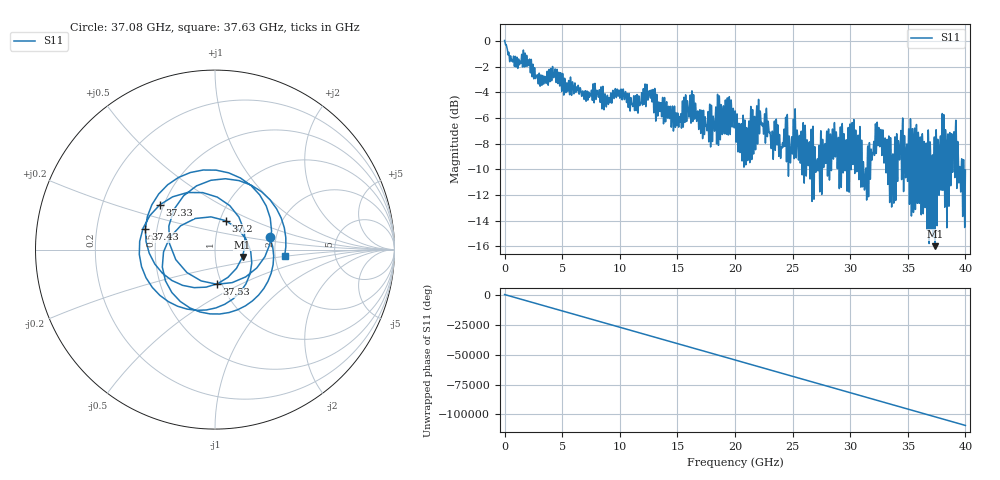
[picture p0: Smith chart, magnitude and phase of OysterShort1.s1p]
# MHz MA S R 50.0
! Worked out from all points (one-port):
!   8000 points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, 5 MHz to 40 GHz, reference 50 ohm
!   lowest |S11| = -16.0 dB at 37.37 GHz (marker M1), VSWR 1.38, Z = 67.8 - j5.73 ohm
!   |S11| at or under -10 dB: 31.17 GHz to 31.35 GHz (172.4 MHz wide, 0.552 % of centre); 39.53619 GHz to 39.64311 GHz (106.9 MHz wide, 0.27 % of centre); 39.87432 GHz to end of sweep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
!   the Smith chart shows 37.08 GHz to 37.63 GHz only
!   S11 on the Smith chart (normalised r, x): 37.08 GHz: 1.85, +0.28; 37.2 GHz: 1.07, +0.35; 37.33 GHz: 0.48, +0.28; 37.43 GHz: 0.43, +0.12; 37.53 GHz: 0.95, -0.38; 37.63 GHz: 2.25, -0.20
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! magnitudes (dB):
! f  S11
! 5 MHz  0.0
! 5.005 GHz  -3.1
! 10.01 GHz  -4.4
! 15.01 GHz  -6.0
! 16.25 GHz  -3.9
! 17.36 GHz  -7.0
! 20 GHz  -5.6
! 20.95 GHz  -9.4
! 22.05 GHz  -4.6
! 25 GHz  -8.6
! 27.03 GHz  -10.1
! 28.62 GHz  -6.4
! 29.05 GHz  -11.5
! 30 GHz  -6.5
! 31.26 GHz  -11.4
! 32.34 GHz  -6.4
! 33.61 GHz  -12.5
! 34.39 GHz  -7.2
! 35.01 GHz  -10.1
! 37.08 GHz  -10.1
! 37.2 GHz  -15.3
! 37.33 GHz  -8.0
! 37.37 GHz  -16.0
! 37.43 GHz  -7.9
! 37.53 GHz  -14.3
! 37.63 GHz  -8.2
! 39.02 GHz  -7.1
! 40 GHz  -10.0
